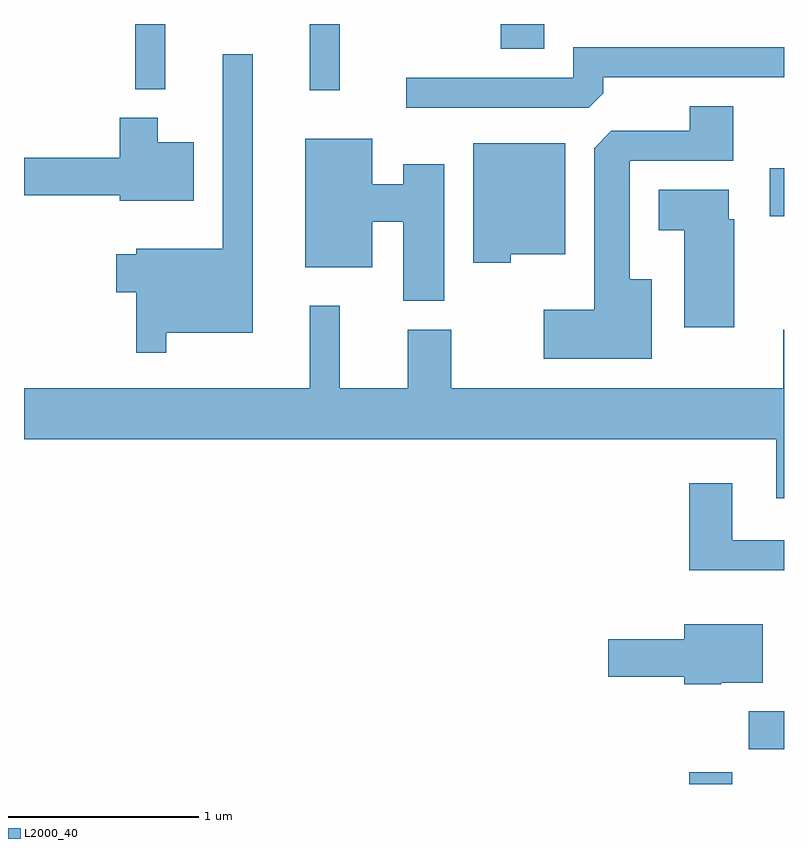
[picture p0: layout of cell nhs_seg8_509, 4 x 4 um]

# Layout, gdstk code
import gdstk
lib = gdstk.Library(unit=1e-6, precision=1e-09)
def R(c, l, rs):  # rectangles x0, y0, x1, y1
    for r in rs: c.add(gdstk.rectangle(r[:2], r[2:], *l))
def P(c, l, *ps):  # polygons
    for p in ps: c.add(gdstk.Polygon(p, *l))
L2000_40 = (2000, 40)

nhs_seg8_509 = lib.new_cell('nhs_seg8_509')
R(nhs_seg8_509, L2000_40, [(203.111,1872.342,203.339,1872.404), (203.426,1872.526,203.611,1872.724), (203.536,1875.331,203.611,1875.584), (201.116,1875.993,201.274,1876.342), (200.196,1875.998,200.354,1876.342), (202.121,1876.211,202.349,1876.342)])
P(nhs_seg8_509, L2000_40, [(202.659,1875.977),(202.659,1876.061),(203.611,1876.061),(203.611,1876.219),(202.501,1876.219),(202.501,1876.059),(201.623,1876.059),(201.623,1875.901),(202.584,1875.901)],
  [(200.359,1874.716),(200.814,1874.716),(200.814,1876.183),(200.656,1876.183),(200.656,1875.159),(200.201,1875.159),(200.201,1875.129),(200.096,1875.129),(200.096,1874.931),(200.201,1874.931),(200.201,1874.613),(200.359,1874.613)],
  [(202.914,1874.999),(202.799,1874.999),(202.799,1875.621),(203.344,1875.621),(203.344,1875.909),(203.116,1875.909),(203.116,1875.779),(202.702,1875.779),(202.611,1875.689),(202.611,1874.839),(202.346,1874.839),(202.346,1874.581),(202.914,1874.581)],
  [(200.504,1875.719),(200.314,1875.719),(200.314,1875.849),(200.116,1875.849),(200.116,1875.639),(199.611,1875.639),(199.611,1875.441),(200.116,1875.441),(200.116,1875.411),(200.504,1875.411)],
  [(201.824,1875.604),(201.606,1875.604),(201.606,1875.499),(201.444,1875.499),(201.444,1875.739),(201.091,1875.739),(201.091,1875.061),(201.444,1875.061),(201.444,1875.301),(201.606,1875.301),(201.606,1874.886),(201.824,1874.886)],
  [(202.174,1875.131),(202.459,1875.131),(202.459,1875.714),(201.976,1875.714),(201.976,1875.086),(202.174,1875.086)],
  [(203.349,1875.314),(203.319,1875.314),(203.319,1875.469),(202.951,1875.469),(202.951,1875.256),(203.086,1875.256),(203.086,1874.746),(203.349,1874.746)],
  [(203.611,1874.734),(203.606,1874.734),(203.606,1874.424),(201.859,1874.424),(201.859,1874.734),(201.631,1874.734),(201.631,1874.424),(201.274,1874.424),(201.274,1874.858),(201.116,1874.858),(201.116,1874.424),(199.611,1874.424),(199.611,1874.156),(203.571,1874.156),(203.571,1873.846),(203.611,1873.846)],
  [(203.611,1873.624),(203.339,1873.624),(203.339,1873.924),(203.111,1873.924),(203.111,1873.466),(203.611,1873.466)],
  [(203.28,1872.876),(203.499,1872.876),(203.499,1873.184),(203.086,1873.184),(203.086,1873.104),(202.686,1873.104),(202.686,1872.906),(203.086,1872.906),(203.086,1872.866),(203.28,1872.866)])

lib.write_gds('nhs_seg8_509.gds')
